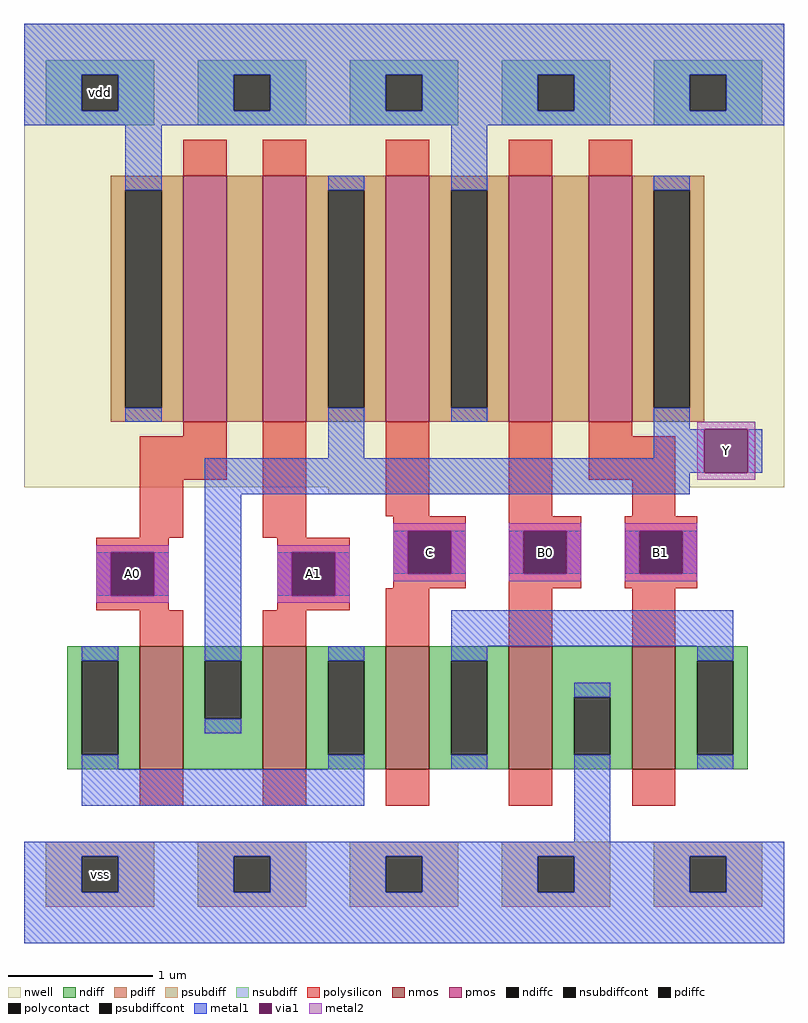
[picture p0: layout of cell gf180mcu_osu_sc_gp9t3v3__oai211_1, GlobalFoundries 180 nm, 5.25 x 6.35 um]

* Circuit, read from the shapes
.subckt gf180mcu_osu_sc_gp9t3v3__oai211_1 A0 A1 B0 B1 C Y vdd vss
XM1 Y A0 n1 vss nfet_03v3 w=0.85u l=0.3u
XM2 n1 A1 Y vss nfet_03v3 w=0.85u l=0.3u
XM3 n2 C n1 vss nfet_03v3 w=0.85u l=0.3u
XM4 vss B0 n2 vss nfet_03v3 w=0.85u l=0.3u
XM5 n2 B1 vss vss nfet_03v3 w=0.85u l=0.3u
XM6 n3 A0 vdd vdd pfet_03v3 w=1.7u l=0.3u
XM7 Y A1 n3 vdd pfet_03v3 w=1.7u l=0.3u
XM8 vdd C Y vdd pfet_03v3 w=1.7u l=0.3u
XM9 n4 B0 vdd vdd pfet_03v3 w=1.7u l=0.3u
XM10 Y B1 n4 vdd pfet_03v3 w=1.7u l=0.3u
.ends

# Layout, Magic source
magic
tech gf180mcuD
<< nwell >>
rect -17 32 88 96
rect 25 31 75 32
<< nmos >>
rect -1 -7 5 10
rect 16 -7 22 10
rect 33 -7 39 10
rect 50 -7 56 10
rect 67 -7 73 10
<< pmos >>
rect 5 41 11 75
rect 16 41 22 75
rect 33 41 39 75
rect 50 41 56 75
rect 61 41 67 75
<< ndiff >>
rect -11 8 -1 10
rect -11 -5 -9 8
rect -4 -5 -1 8
rect -11 -7 -1 -5
rect 5 8 16 10
rect 5 0 8 8
rect 13 0 16 8
rect 5 -7 16 0
rect 22 8 33 10
rect 22 -5 25 8
rect 30 -5 33 8
rect 22 -7 33 -5
rect 39 8 50 10
rect 39 -5 42 8
rect 47 -5 50 8
rect 39 -7 50 -5
rect 56 3 67 10
rect 56 -5 59 3
rect 64 -5 67 3
rect 56 -7 67 -5
rect 73 8 83 10
rect 73 -5 76 8
rect 81 -5 83 8
rect 73 -7 83 -5
<< pdiff >>
rect -5 73 5 75
rect -5 43 -3 73
rect 2 43 5 73
rect -5 41 5 43
rect 11 41 16 75
rect 22 73 33 75
rect 22 43 25 73
rect 30 43 33 73
rect 22 41 33 43
rect 39 73 50 75
rect 39 43 42 73
rect 47 43 50 73
rect 39 41 50 43
rect 56 41 61 75
rect 67 73 77 75
rect 67 43 70 73
rect 75 43 77 73
rect 67 41 77 43
<< ndiffc >>
rect -9 -5 -4 8
rect 8 0 13 8
rect 25 -5 30 8
rect 42 -5 47 8
rect 59 -5 64 3
rect 76 -5 81 8
<< pdiffc >>
rect -3 43 2 73
rect 25 43 30 73
rect 42 43 47 73
rect 70 43 75 73
<< psubdiff >>
rect -14 -19 1 -17
rect -14 -24 -9 -19
rect -4 -24 1 -19
rect -14 -26 1 -24
rect 7 -19 22 -17
rect 7 -24 12 -19
rect 17 -24 22 -19
rect 7 -26 22 -24
rect 28 -19 43 -17
rect 28 -24 33 -19
rect 38 -24 43 -19
rect 28 -26 43 -24
rect 49 -19 64 -17
rect 49 -24 54 -19
rect 59 -24 64 -19
rect 49 -26 64 -24
rect 70 -19 85 -17
rect 70 -24 75 -19
rect 80 -24 85 -19
rect 70 -26 85 -24
<< nsubdiff >>
rect -14 89 1 91
rect -14 84 -9 89
rect -4 84 1 89
rect -14 82 1 84
rect 7 89 22 91
rect 7 84 12 89
rect 17 84 22 89
rect 7 82 22 84
rect 28 89 43 91
rect 28 84 33 89
rect 38 84 43 89
rect 28 82 43 84
rect 49 89 64 91
rect 49 84 54 89
rect 59 84 64 89
rect 49 82 64 84
rect 70 89 85 91
rect 70 84 75 89
rect 80 84 85 89
rect 70 82 85 84
<< psubdiffcont >>
rect -9 -24 -4 -19
rect 12 -24 17 -19
rect 33 -24 38 -19
rect 54 -24 59 -19
rect 75 -24 80 -19
<< nsubdiffcont >>
rect -9 84 -4 89
rect 12 84 17 89
rect 33 84 38 89
rect 54 84 59 89
rect 75 84 80 89
<< polysilicon >>
rect 5 75 11 80
rect 16 75 22 80
rect 33 75 39 80
rect 50 75 56 80
rect 61 75 67 80
rect 5 39 11 41
rect -1 33 11 39
rect -1 25 5 33
rect 16 25 22 41
rect 33 28 39 41
rect 50 28 56 41
rect 61 39 67 41
rect 61 33 73 39
rect 67 28 73 33
rect 34 26 44 28
rect -7 23 3 25
rect -7 17 -5 23
rect 1 17 3 23
rect -7 15 3 17
rect 18 23 28 25
rect 18 17 20 23
rect 26 17 28 23
rect 34 20 36 26
rect 42 20 44 26
rect 34 18 44 20
rect 50 26 60 28
rect 50 20 52 26
rect 58 20 60 26
rect 50 18 60 20
rect 66 26 76 28
rect 66 20 68 26
rect 74 20 76 26
rect 66 18 76 20
rect 18 15 28 17
rect -1 10 5 15
rect 16 10 22 15
rect 33 10 39 18
rect 50 10 56 18
rect 67 10 73 18
rect -1 -12 5 -7
rect 16 -12 22 -7
rect 33 -12 39 -7
rect 50 -12 56 -7
rect 67 -12 73 -7
<< polycontact >>
rect -5 17 1 23
rect 20 17 26 23
rect 36 20 42 26
rect 52 20 58 26
rect 68 20 74 26
<< metal1 >>
rect -17 89 88 96
rect -17 84 -9 89
rect -4 84 12 89
rect 17 84 33 89
rect 38 84 54 89
rect 59 84 75 89
rect 80 84 88 89
rect -17 82 88 84
rect -3 73 2 82
rect -3 41 2 43
rect 25 73 30 75
rect 25 36 30 43
rect 42 73 47 82
rect 42 41 47 43
rect 70 73 75 75
rect 70 40 75 43
rect 70 36 77 40
rect 8 34 77 36
rect 83 34 85 40
rect 8 31 75 34
rect -7 17 -5 23
rect 1 17 3 23
rect -9 8 -4 10
rect 8 8 13 31
rect 18 17 20 23
rect 26 17 28 23
rect 34 20 36 26
rect 42 20 44 26
rect 50 20 52 26
rect 58 20 60 26
rect 66 20 68 26
rect 74 20 76 26
rect 42 10 81 15
rect 8 -2 13 0
rect 25 8 30 10
rect -9 -7 -4 -5
rect 25 -7 30 -5
rect 42 8 47 10
rect 76 8 81 10
rect 42 -7 47 -5
rect 59 3 64 5
rect -9 -12 30 -7
rect 59 -17 64 -5
rect 76 -7 81 -5
rect -17 -19 88 -17
rect -17 -24 -9 -19
rect -4 -24 12 -19
rect 17 -24 33 -19
rect 38 -24 54 -19
rect 59 -24 75 -19
rect 80 -24 88 -19
rect -17 -31 88 -24
<< via1 >>
rect 77 34 83 40
rect -5 17 1 23
rect 20 17 26 23
rect 36 20 42 26
rect 52 20 58 26
rect 68 20 74 26
<< metal2 >>
rect 76 40 84 41
rect 76 34 77 40
rect 83 34 84 40
rect 76 33 84 34
rect 34 26 44 27
rect -7 23 3 24
rect -7 17 -5 23
rect 1 17 3 23
rect -7 16 3 17
rect 18 23 28 24
rect 18 17 20 23
rect 26 17 28 23
rect 34 20 36 26
rect 42 20 44 26
rect 34 19 44 20
rect 50 26 60 27
rect 50 20 52 26
rect 58 20 60 26
rect 50 19 60 20
rect 66 26 76 27
rect 66 20 68 26
rect 74 20 76 26
rect 66 19 76 20
rect 18 16 28 17
<< labels >>
rlabel metal2 -5 17 1 23 1 A0
port 1 w signal input
rlabel metal2 20 17 26 23 1 A1
port 2 w signal output
rlabel metal2 36 20 42 26 1 C
port 5 w signal input
rlabel metal2 52 20 58 26 1 B0
port 3 w signal input
rlabel metal2 68 20 74 26 1 B1
port 4 w signal input
rlabel via1 77 34 83 40 1 Y
port 6 e signal output
rlabel nsubdiffcont -9 84 -4 89 1 vdd
port 7 n power bidirectional abutment
rlabel psubdiffcont -9 -24 -4 -19 1 vss
port 8 s ground bidirectional abutment
<< end >>
